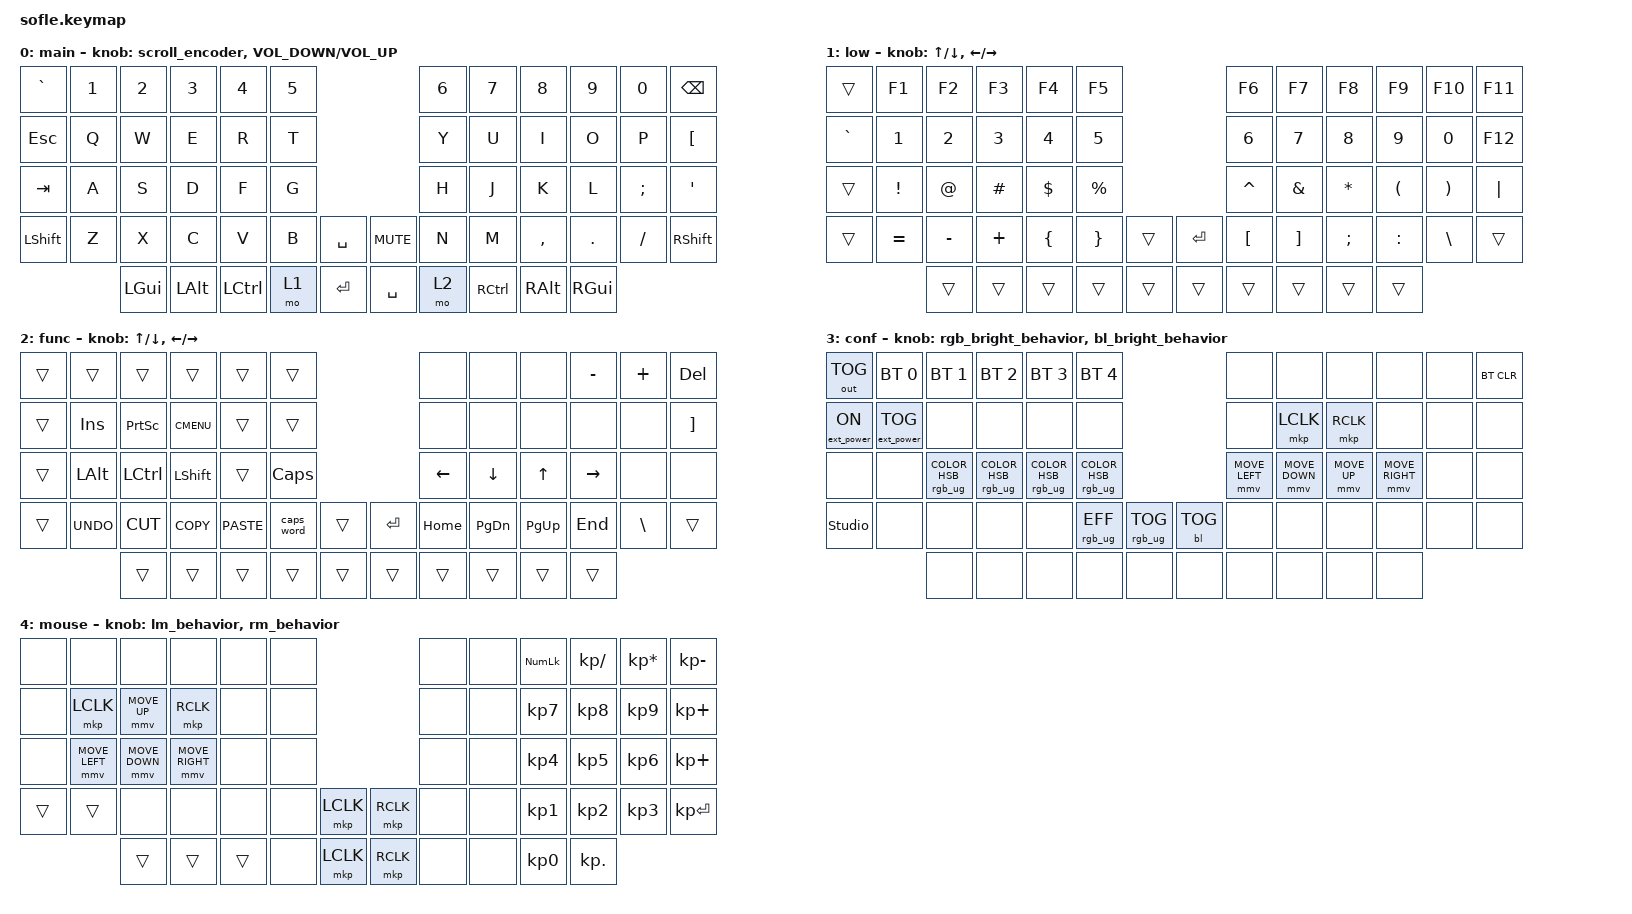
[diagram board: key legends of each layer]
/*
 * Copyright (c) 2020 The ZMK Contributors
 *
 * SPDX-License-Identifier: MIT
 */

#include <behaviors.dtsi>
#include <dt-bindings/zmk/backlight.h>
#include <dt-bindings/zmk/bt.h>
#include <dt-bindings/zmk/ext_power.h>
#include <dt-bindings/zmk/keys.h>
#include <dt-bindings/zmk/outputs.h>
#include <dt-bindings/zmk/pointing.h>
#include <dt-bindings/zmk/rgb.h>

#define BASE 0
#define LOWER 1
#define RAISE 2
#define ADJUST 3

/ {
    behaviors {
        scroll_encoder: scroll_encoder {
            compatible = "zmk,behavior-sensor-rotate";
            #sensor-binding-cells = <0>;
            bindings = <&msc SCRL_DOWN>, <&msc SCRL_UP>;

            tap-ms = <150>; /* Критически важно: увеличивает время "удержания", чтобы ОС успела зарегистрировать событие скролла */
            label = "scroll_encoder";
        };

        rm_behavior: rm_behavior {
            compatible = "zmk,behavior-sensor-rotate";
            label = "RM_BEHAVIOR";
            #sensor-binding-cells = <0>;
            bindings = <&mmv MOVE_LEFT>, <&mmv MOVE_RIGHT>;

            tap-ms = <150>;
        };

        lm_behavior: lm_behavior {
            compatible = "zmk,behavior-sensor-rotate";
            label = "LM_BEHAVIOR";
            #sensor-binding-cells = <0>;
            bindings = <&mmv MOVE_UP>, <&mmv MOVE_DOWN>;

            tap-ms = <150>;
        };

        rgb_bright_behavior: rgb_bright_behavior {
            compatible = "zmk,behavior-sensor-rotate";
            label = "RGB_BRIGHT_BEHAVIOR";
            #sensor-binding-cells = <0>;
            bindings = <&rgb_ug RGB_BRI>, <&rgb_ug RGB_BRD>;

            tap-ms = <150>;
        };

        bl_bright_behavior: bl_bright_behavior {
            compatible = "zmk,behavior-sensor-rotate";
            label = "BL_BRIGHT_BEHAVIOR";
            #sensor-binding-cells = <0>;
            bindings = <&bl BL_DEC>, <&bl BL_INC>;

            tap-ms = <150>;
        };
    };

    // Activate ADJUST layer by pressing raise and lower

    conditional_layers {
        compatible = "zmk,conditional-layers";

        adjust_layer {
            if-layers = <1 2>;
            then-layer = <3>;
        };
    };

    combos {
        compatible = "zmk,combos";

        langchange {
            bindings = <&kp LG(SPACE)>;
            key-positions = <50 59>;
        };

        togglemouse {
            bindings = <&tog 4>;
            key-positions = <42 43>;
        };

        lang2 {
            bindings = <&kp LG(SPACE)>;
            key-positions = <52 57>;
        };
    };

    keymap {
        compatible = "zmk,keymap";

        default_layer {
            display-name = "main";

            // ------------------------------------------------------------------------------------------------------------
            // |   `   |  1  |  2  |  3   |  4   |  5   |                   |  6   |  7    |  8    |  9   |   0   |  \    |
            // |  ESC  |  Q  |  W  |  E   |  R   |  T   |                   |  Y   |  U    |  I    |  O   |   P   | BKSPC |
            // |  TAB  |  A  |  S  |  D   |  F   |  G   |                   |  H   |  J    |  K    |  L   |   ;   |   '   |
            // | SHIFT |  Z  |  X  |  C   |  V   |  B   |  MUTE  |  |       |  N   |  M    |  ,    |  .   |   /   | SHIFT |
            //               | GUI | ALT  | CTRL | LOWER|  ENTER |  | SPACE | RAISE| CTRL  | ALT   | GUI  |

            bindings = <
&kp GRAVE  &kp N1  &kp N2    &kp N3    &kp N4     &kp N5                           &kp N6  &kp N7     &kp N8     &kp N9    &kp N0    &kp BACKSPACE
&kp ESC    &kp Q   &kp W     &kp E     &kp R      &kp T                            &kp Y   &kp U      &kp I      &kp O     &kp P     &kp LEFT_BRACKET
&kp TAB    &kp A   &kp S     &kp D     &kp F      &kp G                            &kp H   &kp J      &kp K      &kp L     &kp SEMI  &kp SQT
&kp LSHFT  &kp Z   &kp X     &kp C     &kp V      &kp B   &kp SPACE    &kp C_MUTE  &kp N   &kp M      &kp COMMA  &kp DOT   &kp FSLH  &kp RSHFT
                   &kp LGUI  &kp LALT  &kp LCTRL  &mo 1   &kp RET      &kp SPACE   &mo 2   &kp RCTRL  &kp RALT   &kp RGUI
            >;

            sensor-bindings =
                <&scroll_encoder>,
                <&inc_dec_kp C_VOLUME_DOWN C_VOLUME_UP>;
        };

        lower_layer {
            display-name = "low";

            // TODO: Some binds are waiting for shifted keycode support.
            // ------------------------------------------------------------------------------------------------------------
            // |       |  F1 |  F2 |  F3  |  F4  |  F5  |                   |  F6  |  F7   |  F8   |  F9  |  F10  |  F11  |
            // |   `   |  1  |  2  |  3   |  4   |  5   |                   |  6   |  7    |  8    |  9   |   0   |  F12  |
            // |       |  !  |  @  |  #   |  $   |  %   |                   |  ^   |  &    |  *    |  (   |   )   |   |   |
            // |       |  =  |  -  |  +   |  {   |  }   |        |  |       |  [   |  ]    |  ;    |  :   |   \   |       |
            //               |     |      |      |      |        |  |       |      |       |       |      |

            bindings = <
&trans     &kp F1     &kp F2     &kp F3    &kp F4    &kp F5                          &kp F6     &kp F7    &kp F8     &kp F9     &kp F10   &kp F11
&kp GRAVE  &kp N1     &kp N2     &kp N3    &kp N4    &kp N5                          &kp N6     &kp N7    &kp N8     &kp N9     &kp N0    &kp F12
&trans     &kp EXCL   &kp AT     &kp HASH  &kp DLLR  &kp PRCNT                       &kp CARET  &kp AMPS  &kp ASTRK  &kp LPAR   &kp RPAR  &kp PIPE
&trans     &kp EQUAL  &kp MINUS  &kp PLUS  &kp LBRC  &kp RBRC   &trans    &kp ENTER  &kp LBKT   &kp RBKT  &kp SEMI   &kp COLON  &kp BSLH  &trans
                      &trans     &trans    &trans    &trans     &trans    &trans     &trans     &trans    &trans     &trans
            >;

            sensor-bindings =
                <&inc_dec_kp UP_ARROW DOWN_ARROW>,
                <&inc_dec_kp LEFT_ARROW RIGHT_ARROW>;
        };

        raise_layer {
            display-name = "func";

            // ------------------------------------------------------------------------------------------------------------
            // | BTCLR | BT1  | BT2  |  BT3  |  BT4  | SEL  |                |      |      |       |      |       |       |
            // |       | INS  | PSCR | GUI   |       |      |                | PGUP |      |   ^   |      |       |       |
            // |       | ALT  | CTRL | SHIFT |       | CAPS |                | PGDN |   <- |   v   |  ->  |  DEL  | BKSPC |
            // |       | UNDO | CUT  | COPY  | PASTE |      |      |  |      |      |      |       |      |       |       |
            //                |      |       |       |      |      |  |      |      |      |       |      |

            bindings = <
&trans  &trans      &trans     &trans       &trans       &trans                           &none           &none           &none         &kp MINUS  &kp PLUS       &kp DELETE
&trans  &kp INS     &kp PSCRN  &kp K_CMENU  &trans       &trans                           &none           &none           &none         &none      &none          &kp RIGHT_BRACKET
&trans  &kp LALT    &kp LCTRL  &kp LSHFT    &trans       &kp CLCK                         &kp LEFT_ARROW  &kp DOWN_ARROW  &kp UP_ARROW  &kp RIGHT  &none          &none
&trans  &kp K_UNDO  &kp K_CUT  &kp K_COPY   &kp K_PASTE  &caps_word  &trans    &kp ENTER  &kp HOME        &kp PAGE_DOWN   &kp PAGE_UP   &kp END    &kp BACKSLASH  &trans
                    &trans     &trans       &trans       &trans      &trans    &trans     &trans          &trans          &trans        &trans
            >;

            sensor-bindings =
                <&inc_dec_kp UP_ARROW DOWN_ARROW>,
                <&inc_dec_kp LEFT_ARROW RIGHT_ARROW>;
        };

        adjust_layer {
            // ----------------------------------------------------------------------------------------------------------------------------
            // | BTCLR  |  BT1    |  BT2    |   BT3   |   BT4   |   SEL   |                  |      |      |       |      |       |       |
            // | EXTPWR | RGB_HUD | RGB_HUI | RGB_SAD | RGB_SAI | RGB_EFF |                  |      |      |       |      |       |       |
            // |        | RGB_BRD | RGB_BRI |         |         |         |                  |      |      |       |      |       |       |
            // |        |         |         |         |         |         | RGB_TOG | |      |      |      |       |      |       |       |
            //                    |         |         |         |         |         | |      |      |      |       |      |

            display-name = "conf";
            bindings = <
&out OUT_TOG    &bt BT_SEL 0  &bt BT_SEL 1                       &bt BT_SEL 2                       &bt BT_SEL 3                     &bt BT_SEL 4                                                   &none           &none           &none         &none            &none  &bt BT_CLR
&ext_power EP_ON  &ext_power EP_TOG  &none                              &none                              &none                            &none                                                          &none           &mkp LCLK       &mkp RCLK     &none            &none  &none
&none           &none         &rgb_ug RGB_COLOR_HSB(112,100,50)  &rgb_ug RGB_COLOR_HSB(240,100,49)  &rgb_ug RGB_COLOR_HSB(0,100,50)  &rgb_ug RGB_COLOR_HSB(0,0,100)                                 &mmv MOVE_LEFT  &mmv MOVE_DOWN  &mmv MOVE_UP  &mmv MOVE_RIGHT  &none  &none
&studio_unlock  &none         &none                              &none                              &none                            &rgb_ug RGB_EFF                 &rgb_ug RGB_TOG    &bl BL_TOG  &none           &none           &none         &none            &none  &none
                              &none                              &none                              &none                            &none                           &none              &none       &none           &none           &none         &none
            >;

            sensor-bindings = <&rgb_bright_behavior>, <&bl_bright_behavior>;
        };

        mouse_layer {
            bindings = <
&none   &none           &none           &none            &none   &none                          &none  &none  &kp KP_NUMLOCK   &kp KP_DIVIDE    &kp KP_ASTERISK  &kp KP_MINUS
&none   &mkp LCLK       &mmv MOVE_UP    &mkp RCLK        &none   &none                          &none  &none  &kp KP_NUMBER_7  &kp KP_NUMBER_8  &kp KP_NUMBER_9  &kp KP_PLUS
&none   &mmv MOVE_LEFT  &mmv MOVE_DOWN  &mmv MOVE_RIGHT  &none   &none                          &none  &none  &kp KP_NUMBER_4  &kp KP_NUMBER_5  &kp KP_NUMBER_6  &kp KP_PLUS
&trans  &trans          &none           &none            &none   &none  &mkp LCLK    &mkp RCLK  &none  &none  &kp KP_N1        &kp KP_NUMBER_2  &kp KP_NUMBER_3  &kp KP_ENTER
                        &trans          &trans           &trans  &none  &mkp LCLK    &mkp RCLK  &none  &none  &kp KP_NUMBER_0  &kp KP_DOT
            >;

            label = "mouse";
            sensor-bindings = <&lm_behavior>, <&rm_behavior>;
        };
    };
};
